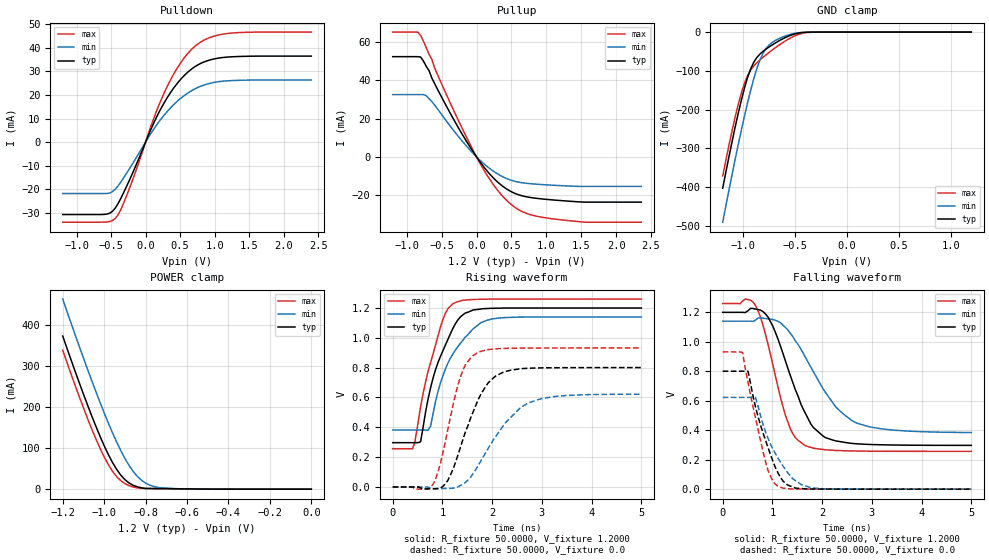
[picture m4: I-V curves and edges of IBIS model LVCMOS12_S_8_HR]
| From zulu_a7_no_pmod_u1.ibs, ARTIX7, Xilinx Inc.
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[Model]  LVCMOS12_S_8_HR
Model_type I/O
Polarity   Non-Inverting
Enable   Active-Low
Vinl = 0.420
Vinh = 0.780
Vmeas =  0.6000V
Cref =   0.0F
Rref =   1.0000M
Vref =   0.0V
C_comp   7.5400pF   7.3900pF   7.6600pF
[Model Spec]
Vinl   0.420   0.399   0.441
Vinh   0.780   0.741   0.819
[Temperature Range]   25.0000   85.0000   0.0
[Voltage Range]   1.2000V   1.1400V   1.2600V
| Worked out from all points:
|   slope of the pulldown table from 0 to 0.18 V, typ, clamps not added: 15.2 ohm
|   slope of the pullup table from 0 to 0.18 V, typ, clamps not added: 21 ohm
|   GND clamp passes 1 mA (typ) near -0.42 V on its own axis
|   POWER clamp passes 1 mA (typ) near -0.68 V on its own axis
|   rising waveform, R_fixture 50.0000, V_fixture 1.2000: 20-80 % time 501ps typ, 584ps min, 427ps max; typ from 0.297 V to 1.2 V
|   rising waveform, R_fixture 50.0000, V_fixture 0.0: 20-80 % time 550ps typ, 784ps min, 392ps max; typ from 0 V to 0.8 V
|   falling waveform, R_fixture 50.0000, V_fixture 1.2000: 20-80 % time 608ps typ, 844ps min, 455ps max; typ from 1.2 V to 0.297 V
|   falling waveform, R_fixture 50.0000, V_fixture 0.0: 20-80 % time 439ps typ, 519ps min, 364ps max; typ from 0.8 V to 0 V
[Pulldown]
|Voltage   I(typ)   I(min)   I(max)
-1.2V     -30.79mA   -21.88mA   -34.05mA
-560mV    -30.6mA    -21.87mA   -33.95mA
-480mV    -29.44mA   -21.06mA   -33.36mA
-400mV    -26.24mA   -18.69mA   -30.98mA
-240mV    -16.58mA   -11.61mA   -20.17mA
120mV     8.208mA    5.591mA    10.22mA
280mV     17.24mA    11.85mA    21.58mA
520mV     27.07mA    18.86mA    34.19mA
760mV     32.86mA    23.25mA    41.77mA
960mV     35.13mA    25.17mA    44.72mA
1.24V     36.24mA    26.13mA    46.32mA
2.4V      36.54mA    26.36mA    46.75mA
[Pullup]
|Voltage   I(typ)   I(min)   I(max)
-1.2V     52.33mA    32.51mA    65.16mA
-840mV    52.33mA    32.51mA    65.16mA
-800mV    52.12mA    32.51mA    63.35mA
-720mV    47.28mA    31.95mA    57.04mA
-640mV    41.19mA    28.91mA    50.99mA
-360mV    21.71mA    15.28mA    26.87mA
40mV      -2.098mA   -1.434mA   -2.706mA
280mV     -12.4mA    -8.425mA   -16.42mA
520mV     -18.61mA   -12.48mA   -25.54mA
760mV     -21.15mA   -13.99mA   -30.08mA
1.12V     -22.59mA   -14.88mA   -32.51mA
2.36V     -23.66mA   -15.44mA   -34.13mA
[GND_clamp]
|Voltage   I(typ)   I(min)   I(max)
-1.2V     -403.2mA   -491mA     -371.8mA
-1.11V    -283.4mA   -368.1mA   -255mA
-1.05V    -209.6mA   -290.5mA   -186.6mA
-990mV    -144.8mA   -217.1mA   -132mA
-960mV    -117.5mA   -182.5mA   -112.3mA
-900mV    -77.8mA    -120.3mA   -87.38mA
-840mV    -56.59mA   -71.85mA   -71.8mA
-780mV    -43.53mA   -41.72mA   -58.45mA
-720mV    -32.74mA   -26.33mA   -45.95mA
-510mV    -5.261mA   -3.65mA    -10.6mA
-360mV    -167.3uA   -163.4uA   -576.2uA
1.2V      567.8pA    78.2nA     5.496nA
[POWER_clamp]
|Voltage   I(typ)   I(min)   I(max)
-1.2V     372.8mA    462.8mA    338.1mA
-1.12V    258.9mA    347.5mA    225.1mA
-1.06V    178.5mA    264.4mA    146.6mA
-1.02V    128.9mA    211.5mA    99.63mA
-980mV    84.61mA    161.3mA    59.9mA
-940mV    48.41mA    115.3mA    30.77mA
-900mV    23.29mA    75.1mA     13.57mA
-860mV    9.443mA    43.31mA    5.343mA
-820mV    3.285mA    21.82mA    1.893mA
-760mV    1.522mA    6.39mA     1.333mA
-660mV    930.6uA    1.443mA    1.066mA
0V        6.539nA    69.28nA    6.513nA
[Ramp]
| variable   typ   min   max
dV/dt_r  0.4801/0.5405n   0.3730/0.7837n   0.5588/0.3920n
dV/dt_f  0.5417/0.5982n   0.4535/0.8403n   0.6020/0.4548n
R_load = 50.0000
[Rising Waveform]
R_fixture= 50.0000
V_fixture= 1.2000
V_fixture_min= 1.1400
V_fixture_max= 1.2600
|time   V(typ)   V(min)   V(max)
0s        296.8mV    381.9mV    256.6mV
400ps     296.8mV    381.9mV    255.3mV
560ps     302.3mV    381.9mV    535.5mV
710ps     587mV      379.8mV    772.1mV
810ps     728.3mV    489.6mV    889.7mV
1.01ns    913mV      745mV      1.123V
1.21ns    1.062V     890.6mV    1.227V
1.46ns    1.165V     1.004V     1.252V
2.02ns    1.197V     1.127V     1.259V
5ns       1.199V     1.139V     1.259V
[Rising Waveform]
R_fixture= 50.0000
V_fixture= 0.0
|time   V(typ)   V(min)   V(max)
0s        0V         0V         0V
810ps     -11.96mV   -12.24mV   16.89mV
960ps     -6.928mV   -10.62mV   158.2mV
1.11ns    44.64mV    -9.335mV   386.6mV
1.36ns    263.4mV    9.429mV    734.1mV
1.46ns    367mV      29.8mV     817.3mV
1.72ns    586.2mV    143.4mV    901.9mV
2.07ns    743.3mV    337.3mV    925.4mV
2.73ns    795.5mV    563.6mV    930.7mV
5ns       800.1mV    621.6mV    931.4mV
[Falling Waveform]
R_fixture= 50.0000
V_fixture= 1.2000
V_fixture_min= 1.1400
V_fixture_max= 1.2600
|time   V(typ)   V(min)   V(max)
0s        1.2V       1.14V      1.26V
450ps     1.198V     1.14V      1.29V
660ps     1.222V     1.147V     1.246V
910ps     1.169V     1.156V     986.2mV
1.26ns    871.4mV    1.098V     502.9mV
1.46ns    675.5mV    1.007V     350.2mV
1.67ns    509.8mV    890.9mV    293.9mV
2.07ns    349.5mV    654.9mV    267.1mV
2.68ns    308.3mV    450.6mV    258.9mV
5ns       297.1mV    384.2mV    256.6mV
[Falling Waveform]
R_fixture= 50.0000
V_fixture= 0.0
|time   V(typ)   V(min)   V(max)
0s        800.5mV    622.6mV    931.7mV
400ps     800.5mV    622.6mV    927.1mV
510ps     799.7mV    622.6mV    724.6mV
660ps     558.5mV    622.6mV    483.5mV
860ps     332.8mV    390.3mV    188.1mV
1.01ns    189.7mV    272mV      54.36mV
1.11ns    111.2mV    211.8mV    20.28mV
1.31ns    27.75mV    110.5mV    3.396mV
1.77ns    1.399mV    10.53mV    600.6uV
5ns       62.83uV    130.8uV    51.83uV
